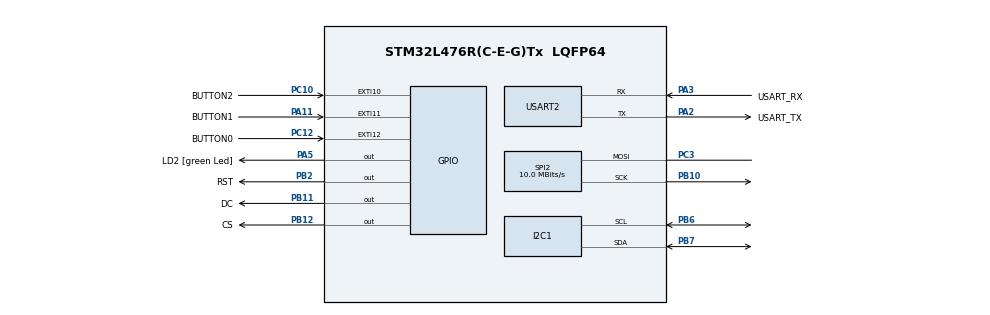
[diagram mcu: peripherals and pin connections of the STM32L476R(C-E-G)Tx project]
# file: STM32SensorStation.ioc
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Dma.I2C1_RX.0.Direction=DMA_PERIPH_TO_MEMORY
Dma.I2C1_RX.0.Instance=DMA1_Channel7
Dma.I2C1_RX.0.MemDataAlignment=DMA_MDATAALIGN_BYTE
Dma.I2C1_RX.0.MemInc=DMA_MINC_ENABLE
Dma.I2C1_RX.0.Mode=DMA_NORMAL
Dma.I2C1_RX.0.PeriphDataAlignment=DMA_PDATAALIGN_BYTE
Dma.I2C1_RX.0.PeriphInc=DMA_PINC_DISABLE
Dma.I2C1_RX.0.Priority=DMA_PRIORITY_LOW
Dma.I2C1_TX.1.Direction=DMA_MEMORY_TO_PERIPH
Dma.I2C1_TX.1.Instance=DMA1_Channel6
Dma.I2C1_TX.1.MemDataAlignment=DMA_MDATAALIGN_BYTE
Dma.I2C1_TX.1.MemInc=DMA_MINC_ENABLE
Dma.I2C1_TX.1.Mode=DMA_NORMAL
Dma.I2C1_TX.1.PeriphDataAlignment=DMA_PDATAALIGN_BYTE
Dma.I2C1_TX.1.PeriphInc=DMA_PINC_DISABLE
Dma.I2C1_TX.1.Priority=DMA_PRIORITY_LOW
Dma.Request0=I2C1_RX
Dma.Request1=I2C1_TX
Dma.Request2=SPI2_TX
Dma.SPI2_TX.2.Direction=DMA_MEMORY_TO_PERIPH
Dma.SPI2_TX.2.Instance=DMA1_Channel5
Dma.SPI2_TX.2.MemDataAlignment=DMA_MDATAALIGN_BYTE
Dma.SPI2_TX.2.MemInc=DMA_MINC_ENABLE
Dma.SPI2_TX.2.Mode=DMA_NORMAL
Dma.SPI2_TX.2.PeriphDataAlignment=DMA_PDATAALIGN_BYTE
Dma.SPI2_TX.2.PeriphInc=DMA_PINC_DISABLE
Dma.SPI2_TX.2.Priority=DMA_PRIORITY_LOW
I2C1.Timing=0x00909BEB
Mcu.Family=STM32L4
Mcu.Name=STM32L476R(C-E-G)Tx
Mcu.Package=LQFP64
NVIC.DMA1_Channel5_IRQn=true\:3\:0\:true\:false\:true\:false\:true\:true
NVIC.DMA1_Channel6_IRQn=true\:3\:0\:true\:false\:true\:false\:true\:true
NVIC.DMA1_Channel7_IRQn=true\:3\:0\:true\:false\:true\:false\:true\:true
NVIC.EXTI15_10_IRQn=true\:2\:0\:true\:false\:true\:true\:true\:true
NVIC.PriorityGroup=NVIC_PRIORITYGROUP_4
NVIC.TIM6_DAC_IRQn=true\:1\:0\:true\:false\:true\:true\:true\:true
PA11.GPIO_Label=BUTTON1
PA11.GPIO_ModeDefaultEXTI=GPIO_MODE_IT_FALLING
PA11.GPIO_PuPd=GPIO_PULLUP
PA11.Signal=GPXTI11
PA13\ (JTMS-SWDIO).GPIO_Label=TMS
PA13\ (JTMS-SWDIO).Mode=Serial_Wire
PA13\ (JTMS-SWDIO).Signal=SYS_JTMS-SWDIO
PA14\ (JTCK-SWCLK).GPIO_Label=TCK
PA14\ (JTCK-SWCLK).Mode=Serial_Wire
PA14\ (JTCK-SWCLK).Signal=SYS_JTCK-SWCLK
PA2.GPIO_Label=USART_TX
PA2.GPIO_Mode=GPIO_MODE_AF_PP
PA2.GPIO_PuPd=GPIO_NOPULL
PA2.GPIO_Speed=GPIO_SPEED_FREQ_VERY_HIGH
PA2.Mode=Asynchronous
PA2.Signal=USART2_TX
PA3.GPIO_Label=USART_RX
PA3.GPIO_Mode=GPIO_MODE_AF_PP
PA3.GPIO_PuPd=GPIO_NOPULL
PA3.GPIO_Speed=GPIO_SPEED_FREQ_VERY_HIGH
PA3.Mode=Asynchronous
PA3.Signal=USART2_RX
PA5.GPIO_Label=LD2 [green Led]
PA5.GPIO_ModeDefaultOutputPP=GPIO_MODE_OUTPUT_PP
PA5.GPIO_PuPd=GPIO_NOPULL
PA5.GPIO_Speed=GPIO_SPEED_FREQ_LOW
PA5.Signal=GPIO_Output
PB10.Mode=Simplex_Bidirectional_Master
PB10.Signal=SPI2_SCK
PB11.GPIO_Label=DC
PB11.Signal=GPIO_Output
PB12.GPIO_Label=CS
PB12.Signal=GPIO_Output
PB2.GPIO_Label=RST
PB2.Signal=GPIO_Output
PB3\ (JTDO-TRACESWO).GPIO_Label=SWO
PB3\ (JTDO-TRACESWO).Signal=SYS_JTDO-SWO
PB6.Mode=I2C
PB6.Signal=I2C1_SCL
PB7.Mode=I2C
PB7.Signal=I2C1_SDA
PC10.GPIO_Label=BUTTON2
PC10.GPIO_ModeDefaultEXTI=GPIO_MODE_IT_FALLING
PC10.GPIO_PuPd=GPIO_PULLUP
PC10.Signal=GPXTI10
PC12.GPIO_Label=BUTTON0
PC12.GPIO_ModeDefaultEXTI=GPIO_MODE_IT_FALLING
PC12.GPIO_PuPd=GPIO_PULLUP
PC12.Signal=GPXTI12
PC14-OSC32_IN\ (PC14).Mode=LSE-External-Oscillator
PC14-OSC32_IN\ (PC14).Signal=RCC_OSC32_IN
PC15-OSC32_OUT\ (PC15).Mode=LSE-External-Oscillator
PC15-OSC32_OUT\ (PC15).Signal=RCC_OSC32_OUT
PC3.Mode=Simplex_Bidirectional_Master
PC3.Signal=SPI2_MOSI
PH0-OSC_IN\ (PH0).Signal=RCC_OSC_IN
PH1-OSC_OUT\ (PH1).Signal=RCC_OSC_OUT
ProjectManager.HeapSize=0x200
ProjectManager.StackSize=0x400
ProjectManager.TargetToolchain=STM32CubeIDE
RCC.ADCFreq_Value=64000000
RCC.AHBFreq_Value=80000000
RCC.APB1CLKDivider=RCC_HCLK_DIV2
RCC.APB1Freq_Value=40000000
RCC.APB1TimFreq_Value=80000000
RCC.APB2Freq_Value=80000000
RCC.APB2TimFreq_Value=80000000
RCC.CortexFreq_Value=80000000
RCC.HCLKFreq_Value=80000000
RCC.HSE_VALUE=8000000
RCC.HSI_VALUE=16000000
RCC.MSI_VALUE=4000000
RCC.PLLN=10
RCC.PLLSourceVirtual=RCC_PLLSOURCE_HSI
RCC.PREFETCH_ENABLE=1
RCC.RTCClockSelection=RCC_RTCCLKSOURCE_LSE
RCC.SYSCLKFreq_VALUE=80000000
RCC.SYSCLKSource=RCC_SYSCLKSOURCE_PLLCLK
RCC.USBFreq_Value=64000000
RCC.VCOOutputFreq_Value=160000000
SPI2.BaudRatePrescaler=SPI_BAUDRATEPRESCALER_4
SPI2.CalculateBaudRate=10.0 MBits/s
SPI2.DataSize=SPI_DATASIZE_8BIT
SPI2.Direction=SPI_DIRECTION_1LINE
SPI2.Mode=SPI_MODE_MASTER
SPI2.VirtualType=VM_MASTER
TIM6.Period=499
TIM6.Prescaler=7999
TIM6.TIM_MasterOutputTrigger=TIM_TRGO_UPDATE
USART2.VirtualMode-Asynchronous=VM_ASYNC
VP_RTC_VS_RTC_Activate.Mode=RTC_Enabled
VP_RTC_VS_RTC_Calendar.Mode=RTC_Calendar
VP_TIM6_VS_ClockSourceINT.Mode=Enable_Timer
board=NUCLEO-L476RG

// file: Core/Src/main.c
/* USER CODE BEGIN Header */
/**
  ******************************************************************************
  * @file           : main.c
  * @brief          : Main program body
  ******************************************************************************
  * @attention
  *
  * Copyright (c) 2024 STMicroelectronics.
  * All rights reserved.
  *
  * This software is licensed under terms that can be found in the LICENSE file
  * in the root directory of this software component.
  * If no LICENSE file comes with this software, it is provided AS-IS.
  *
  ******************************************************************************
  */
/* USER CODE END Header */
#include "main.h"
#include "dma.h"
#include "i2c.h"
#include "rtc.h"
#include "spi.h"
#include "tim.h"
#include "usart.h"
#include "gpio.h"

/* USER CODE BEGIN Includes */
#include <bme680/bme68x_necessary_functions.h>
#include "../MyLibraries/USART.h"
#include "../MyLibraries/GPIO.h"
#include "../MyLibraries/I2C.h"
#include "../MyLibraries/BME680.h"
#include "../MyLibraries/LCD.h"
#include "../MyLibraries/SPI.h"
#include "../MyLibraries/WS.h"
#include "../MyLibraries/RTC.h"
/* USER CODE END Includes */

/* USER CODE BEGIN PV */
volatile uint8_t interrupt0, interrupt1, interrupt2;
/* USER CODE END PV */

void SystemClock_Config(void);

int main(void)
{

  /* MCU Configuration--------------------------------------------------------*/

  /* Reset of all peripherals, Initializes the Flash interface and the Systick. */
  LL_APB2_GRP1_EnableClock(LL_APB2_GRP1_PERIPH_SYSCFG);
  LL_APB1_GRP1_EnableClock(LL_APB1_GRP1_PERIPH_PWR);

  /* System interrupt init*/
  NVIC_SetPriorityGrouping(NVIC_PRIORITYGROUP_4);

  /* MemoryManagement_IRQn interrupt configuration */
  NVIC_SetPriority(MemoryManagement_IRQn, NVIC_EncodePriority(NVIC_GetPriorityGrouping(),4, 0));
  /* BusFault_IRQn interrupt configuration */
  NVIC_SetPriority(BusFault_IRQn, NVIC_EncodePriority(NVIC_GetPriorityGrouping(),4, 0));
  /* UsageFault_IRQn interrupt configuration */
  NVIC_SetPriority(UsageFault_IRQn, NVIC_EncodePriority(NVIC_GetPriorityGrouping(),4, 0));
  /* SVCall_IRQn interrupt configuration */
  NVIC_SetPriority(SVCall_IRQn, NVIC_EncodePriority(NVIC_GetPriorityGrouping(),4, 0));
  /* DebugMonitor_IRQn interrupt configuration */
  NVIC_SetPriority(DebugMonitor_IRQn, NVIC_EncodePriority(NVIC_GetPriorityGrouping(),4, 0));
  /* PendSV_IRQn interrupt configuration */
  NVIC_SetPriority(PendSV_IRQn, NVIC_EncodePriority(NVIC_GetPriorityGrouping(),4, 0));

  /* Configure the system clock */
  SystemClock_Config();

  /* Initialize all configured peripherals */
  MX_GPIO_Init();
  MX_DMA_Init();
  MX_USART2_UART_Init();
  MX_I2C1_Init();
  MX_SPI2_Init();
  MX_RTC_Init();
  MX_TIM6_Init();

  /* Infinite loop */
  /* USER CODE BEGIN WHILE */
  struct bme68x_data data;
  struct RTC_values now = { 24, 5, 9, 14, 15, 57, 0};
  uint8_t before_hour = now.hour-1;
  uint8_t before_minutes = now.minutes-1;
  uint8_t menu_state = 0;

  RTCSet(&now);
  SPIInit();
  LCDInit();

  WSStartScreen();

  I2CInit();
  BME680init(&data);

  while (1)
  {
	 WSMain(&menu_state, &before_hour, &before_minutes, &now, &data);

	 if(menu_state == 0 && interrupt1 == 1){
		 menu_state = 1;
	 	 interrupt1 = 0;
	 }
    /* USER CODE END WHILE */

  }
}

void SystemClock_Config(void)
{
  LL_FLASH_SetLatency(LL_FLASH_LATENCY_4);
  while(LL_FLASH_GetLatency()!= LL_FLASH_LATENCY_4)
  {
  }
  LL_PWR_SetRegulVoltageScaling(LL_PWR_REGU_VOLTAGE_SCALE1);
  while (LL_PWR_IsActiveFlag_VOS() != 0)
  {
  }
  LL_RCC_HSI_Enable();

   /* Wait till HSI is ready */
  while(LL_RCC_HSI_IsReady() != 1)
  {

  }
  LL_RCC_HSI_SetCalibTrimming(16);
  LL_PWR_EnableBkUpAccess();
  LL_RCC_LSE_SetDriveCapability(LL_RCC_LSEDRIVE_LOW);
  LL_RCC_LSE_Enable();

   /* Wait till LSE is ready */
  while(LL_RCC_LSE_IsReady() != 1)
  {

  }
  LL_RCC_PLL_ConfigDomain_SYS(LL_RCC_PLLSOURCE_HSI, LL_RCC_PLLM_DIV_1, 10, LL_RCC_PLLR_DIV_2);
  LL_RCC_PLL_EnableDomain_SYS();
  LL_RCC_PLL_Enable();

   /* Wait till PLL is ready */
  while(LL_RCC_PLL_IsReady() != 1)
  {

  }
  LL_RCC_SetSysClkSource(LL_RCC_SYS_CLKSOURCE_PLL);

   /* Wait till System clock is ready */
  while(LL_RCC_GetSysClkSource() != LL_RCC_SYS_CLKSOURCE_STATUS_PLL)
  {

  }
  LL_RCC_SetAHBPrescaler(LL_RCC_SYSCLK_DIV_1);
  LL_RCC_SetAPB1Prescaler(LL_RCC_APB1_DIV_2);
  LL_RCC_SetAPB2Prescaler(LL_RCC_APB2_DIV_1);

  LL_Init1msTick(80000000);

  LL_SetSystemCoreClock(80000000);
}

void Error_Handler(void)
{
  __disable_irq();
  while (1)
  {
  }
}
